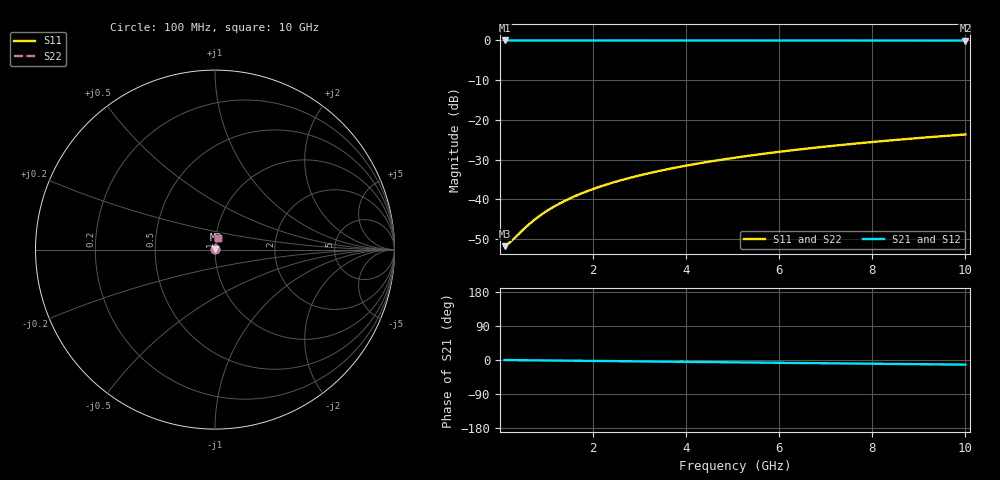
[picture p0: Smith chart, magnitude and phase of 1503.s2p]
# Hz S RI R 50.00
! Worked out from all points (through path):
!   100 points, 100 MHz to 10 GHz, reference 50 ohm
!   highest |S21| = -0.02 dB at 100 MHz (marker M1); lowest = 0.0 dB at 10 GHz (marker M2)
!   group delay of S21, straight-line fit = 3.4 ps
!   lowest |S11| = -51.8 dB at 100 MHz (marker M3), VSWR 1.01, Z = 50.2 + j0.0658 ohm
!   |S11| at or under -10 dB: start of sweep to end of sweep
!   |S22| runs from -51.8 to -23.7 dB; largest |S21 - S12| = 0
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1e8  0.00248 0.000655  0.9975 -0.00213  0.9975 -0.00213  0.00248 0.000655
2e8  0.0025 0.00131  0.9975 -0.00426  0.9975 -0.00426  0.0025 0.00131
6e8  0.00258 0.00393  0.9974 -0.0128  0.9974 -0.0128  0.00258 0.00393
7e8  0.00261 0.00458  0.9973 -0.0149  0.9973 -0.0149  0.00261 0.00458
9e8  0.00266 0.00589  0.9972 -0.0192  0.9972 -0.0192  0.00266 0.00589
1.1e9  0.00273 0.0072  0.9971 -0.0234  0.9971 -0.0234  0.00273 0.0072
1.3e9  0.0028 0.0085  0.997 -0.0277  0.997 -0.0277  0.0028 0.0085
1.5e9  0.00289 0.00981  0.9968 -0.032  0.9968 -0.032  0.00289 0.00981
1.8e9  0.00304 0.0118  0.9966 -0.0383  0.9966 -0.0383  0.00304 0.0118
2.1e9  0.00321 0.0137  0.9963 -0.0447  0.9963 -0.0447  0.00321 0.0137
2.5e9  0.00348 0.0163  0.9958 -0.0532  0.9958 -0.0532  0.00348 0.0163
2.9e9  0.00379 0.0189  0.9953 -0.0617  0.9953 -0.0617  0.00379 0.0189
3.4e9  0.00424 0.0222  0.9944 -0.0724  0.9944 -0.0724  0.00424 0.0222
3.8e9  0.00465 0.0247  0.9937 -0.0808  0.9937 -0.0808  0.00465 0.0247
4.2e9  0.00511 0.0273  0.9929 -0.0893  0.9929 -0.0893  0.00511 0.0273
4.6e9  0.0056 0.0299  0.992 -0.0978  0.992 -0.0978  0.0056 0.0299
5.1e9  0.00629 0.0331  0.9908 -0.1084  0.9908 -0.1084  0.00629 0.0331
5.9e9  0.00752 0.0382  0.9886 -0.1253  0.9886 -0.1253  0.00752 0.0382
6.7e9  0.00893 0.0432  0.9861 -0.1421  0.9861 -0.1421  0.00893 0.0432
7.5e9  0.0105 0.0482  0.9832 -0.1589  0.9832 -0.1589  0.0105 0.0482
8.4e9  0.0125 0.0537  0.9797 -0.1777  0.9797 -0.1777  0.0125 0.0537
1e10  0.0165 0.0633  0.9724 -0.2109  0.9724 -0.2109  0.0165 0.0633
